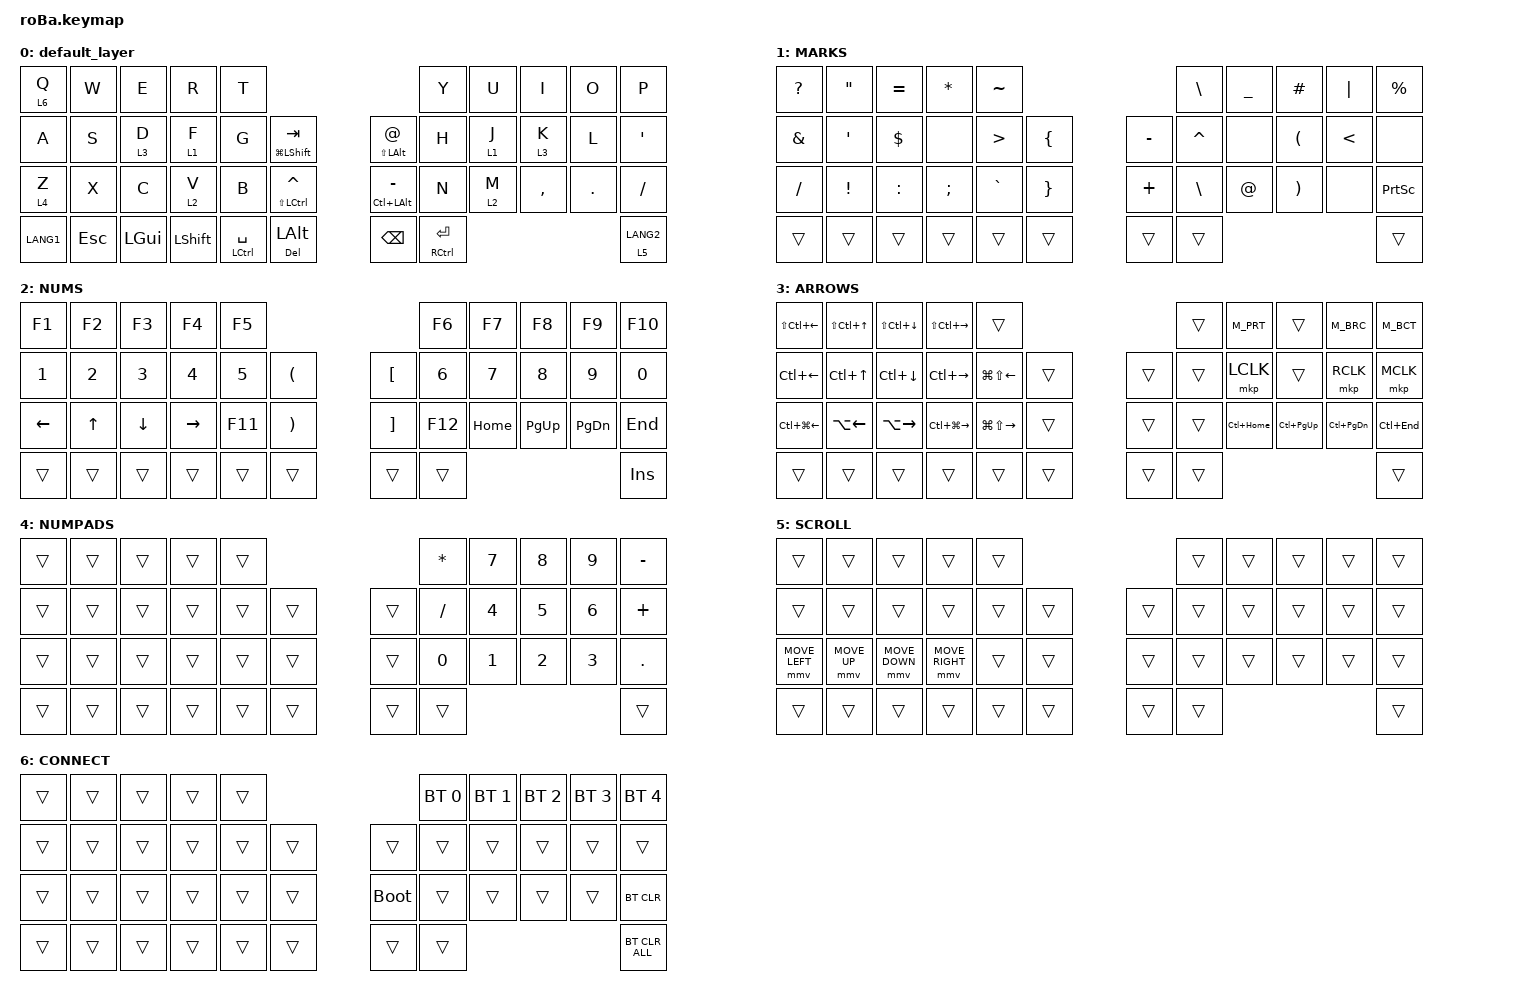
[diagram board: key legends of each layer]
#include <behaviors.dtsi>
#include <dt-bindings/zmk/bt.h>
#include <dt-bindings/zmk/keys.h>
#include <dt-bindings/zmk/pointing.h>

&mt {
    flavor = "balanced";
    quick-tap-ms = <0>;
};

&trackball {
    //automouse-layer = <4>;

    scroll-layers = <5>;

    // arrows {
    //     layers = <3>;
    //     bindings =
    //         <&kp RIGHT_ARROW>,
    //         <&kp LEFT_ARROW>,
    //         <&kp UP_ARROW>,
    //         <&kp DOWN_ARROW>;
    //     tick = <10>;
    //     wait-ms = <5>;
    //     tap-ms = <5>;
    // };
};

/ {
    combos {
        compatible = "zmk,combos";

        C_LCLK {
            bindings = <&mkp LCLK>;
            key-positions = <18 19>;
            layers = <0 1 2 3 5>;
        };

        C_RCLK {
            bindings = <&mkp RCLK>;
            key-positions = <19 20>;
            layers = <0 1 2 3 5>;
        };

        C_MCLK {
            bindings = <&mkp MCLK>;
            key-positions = <20 21>;
            layers = <0 1 2 3 5>;
        };

        C_PRT {
            bindings = <&M_PRT>;
            key-positions = <19 31>;
            layers = <0>;
        };

        C_BRC {
            bindings = <&M_BRC>;
            key-positions = <15 27>;
            layers = <0>;
        };

        C_BCT {
            bindings = <&M_BCT>;
            key-positions = <16 28>;
            layers = <0>;
        };

        C_DQT {
            bindings = <&M_DQT>;
            key-positions = <1 11>;
            layers = <0>;
        };

        C_QTE {
            bindings = <&M_QTE>;
            key-positions = <11 23>;
            layers = <0>;
        };

        C_SELECT {
            bindings = <&M_SELECT>;
            key-positions = <11 23>;
            layers = <5>;
        };

        C_DELETE {
            bindings = <&M_DELETE>;
            key-positions = <12 24>;
            layers = <5>;
        };

        C_UPDATE {
            bindings = <&M_UPDATE>;
            key-positions = <6 18>;
            layers = <5>;
        };

        C_INSERT {
            bindings = <&M_INSERT>;
            key-positions = <7 19>;
            layers = <5>;
        };

        C_UP {
            bindings = <&kp UP>;
            key-positions = <17 5>;
            layers = <0>;
        };

        C_DN {
            bindings = <&kp DOWN>;
            key-positions = <17 29>;
            layers = <0>;
        };

        C_LT {
            bindings = <&kp LEFT>;
            key-positions = <17 16>;
            layers = <0>;
        };

        C_RT {
            bindings = <&kp RIGHT>;
            key-positions = <17 18>;
            layers = <0>;
        };

        C_HM {
            bindings = <&kp HOME>;
            key-positions = <14 13>;
            layers = <0>;
        };

        C_ED {
            bindings = <&kp END>;
            key-positions = <14 15>;
            layers = <0>;
        };

        C_PU {
            bindings = <&kp PG_UP>;
            key-positions = <14 4>;
            layers = <0>;
        };

        C_PD {
            bindings = <&kp PG_DN>;
            key-positions = <14 26>;
            layers = <0>;
        };

        C_US {
            bindings = <&msc SCRL_UP>;
            key-positions = <6 18>;
            layers = <0>;
        };

        C_DS {
            bindings = <&msc SCRL_DOWN>;
            key-positions = <18 30>;
            layers = <0>;
        };
    };

    macros {
        M_PRT: M_PRT {
            compatible = "zmk,behavior-macro";
            #binding-cells = <0>;
            bindings = <&kp ASTRK &kp LEFT_PARENTHESIS &kp LEFT>;
            label = "( )";
            wait-ms = <30>;
            tap-ms = <30>;
        };

        M_BRC: M_BRC {
            compatible = "zmk,behavior-macro";
            #binding-cells = <0>;
            bindings = <&kp RIGHT_BRACE &kp PIPE &kp LEFT>;
            label = "{ }";
            wait-ms = <30>;
            tap-ms = <30>;
        };

        M_BCT: M_BCT {
            compatible = "zmk,behavior-macro";
            #binding-cells = <0>;
            bindings = <&kp RIGHT_BRACKET &kp BSLH &kp LEFT>;
            label = "[ ]";
            wait-ms = <30>;
            tap-ms = <30>;
        };

        M_DQT: M_DQT {
            compatible = "zmk,behavior-macro";
            #binding-cells = <0>;
            bindings = <&kp AT &kp AT &kp LEFT>;
            label = "M_DQT";
            wait-ms = <30>;
            tap-ms = <30>;
        };

        M_QTE: M_QTE {
            compatible = "zmk,behavior-macro";
            #binding-cells = <0>;
            bindings = <&kp AMPS &kp AMPS &kp LEFT>;
            label = "M_QTE";
            wait-ms = <30>;
            tap-ms = <30>;
        };

        M_SELECT: M_SELECT {
            compatible = "zmk,behavior-macro";
            #binding-cells = <0>;
            bindings = <&kp S &kp E &kp L &kp E &kp C &kp T &kp SPACE &kp DOUBLE_QUOTES &kp SPACE &kp F &kp R &kp O &kp M &kp SPACE &kp T &kp SPACE &kp W &kp H &kp E &kp R &kp E>;
            label = "M_SELECT";
            wait-ms = <30>;
            tap-ms = <30>;
        };

        M_DELETE: M_DELETE {
            compatible = "zmk,behavior-macro";
            #binding-cells = <0>;
            bindings = <&kp D &kp E &kp L &kp E &kp T &kp E &kp SPACE &kp F &kp R &kp O &kp M &kp SPACE &kp T &kp SPACE &kp W &kp H &kp E &kp R &kp E>;
            label = "M_DELETE";
            wait-ms = <30>;
            tap-ms = <30>;
        };

        M_UPDATE: M_UPDATE {
            compatible = "zmk,behavior-macro";
            #binding-cells = <0>;
            bindings = <&kp U &kp P &kp D &kp A &kp T &kp E &kp SPACE &kp T &kp SPACE &kp S &kp E &kp T &kp SPACE &kp SPACE &kp UNDER &kp SPACE &kp SPACE &kp W &kp H &kp E &kp R &kp E>;
            label = "M_UPDATE";
            wait-ms = <30>;
            tap-ms = <30>;
        };

        M_INSERT: M_INSERT {
            compatible = "zmk,behavior-macro";
            #binding-cells = <0>;
            bindings = <&kp I &kp N &kp S &kp E &kp R &kp T &kp SPACE &kp I &kp N &kp T &kp O &kp SPACE &kp T &kp SPACE &kp ASTRK &kp C &kp LPAR &kp SPACE &kp V &kp A &kp L &kp U &kp E &kp S &kp SPACE &kp ASTRK &kp V &kp LEFT_PARENTHESIS>;
            label = "M_INSERT";
            wait-ms = <30>;
            tap-ms = <30>;
        };
    };

    keymap {
        compatible = "zmk,keymap";

        default_layer {
            bindings = <
&lt 6 Q    &kp W       &kp E         &kp R           &kp T                                                                  &kp Y            &kp U    &kp I      &kp O    &kp P
&kp A      &kp S       &lt 3 D       &lt 1 F         &kp G            &mt LG(LEFT_SHIFT) TAB      &mt LS(LEFT_ALT) AT_SIGN  &kp H            &lt 1 J  &lt 3 K    &kp L    &kp SQT
&lt 4 Z    &kp X       &kp C         &lt 2 V         &kp B            &mt LS(LCTRL) CARET         &mt LC(LEFT_ALT) MINUS    &kp N            &lt 2 M  &kp COMMA  &kp DOT  &kp SLASH
&kp LANG1  &kp ESCAPE  &kp LEFT_GUI  &kp LEFT_SHIFT  &mt LCTRL SPACE  &mt DEL LEFT_ALT            &kp BACKSPACE             &mt RCTRL ENTER                               &lt 5 LANG2
            >;
        };

        MARKS {
            bindings = <
&kp QMARK  &kp DQT   &kp EQUAL  &kp ASTRK  &kp TILDE                           &kp BSLH   &kp UNDER  &kp HASH  &kp PIPE  &kp PRCNT
&kp AMPS   &kp SQT   &kp DLLR   &none      &kp GT     &kp LBRC      &kp MINUS  &kp CARET  &none      &kp LPAR  &kp LT    &none
&kp FSLH   &kp EXCL  &kp COLON  &kp SEMI   &kp GRAVE  &kp RBRC      &kp PLUS   &kp BSLH   &kp AT     &kp RPAR  &none     &kp PSCRN
&trans     &trans    &trans     &trans     &trans     &trans        &trans     &trans                                    &trans
            >;
        };

        NUMS {
            bindings = <
&kp F1    &kp F2  &kp F3    &kp F4     &kp F5                           &kp F6   &kp F7    &kp F8     &kp F9     &kp F10
&kp N1    &kp N2  &kp N3    &kp N4     &kp N5   &kp LPAR      &kp LBKT  &kp N6   &kp N7    &kp N8     &kp N9     &kp N0
&kp LEFT  &kp UP  &kp DOWN  &kp RIGHT  &kp F11  &kp RPAR      &kp RBKT  &kp F12  &kp HOME  &kp PG_UP  &kp PG_DN  &kp END
&trans    &trans  &trans    &trans     &trans   &trans        &trans    &trans                                   &kp INS
            >;
        };

        ARROWS {
            bindings = <
&kp LS(LC(LEFT))  &kp LS(LC(UP))  &kp LS(LC(DOWN))  &kp LS(LC(RIGHT))  &trans                                 &trans  &M_PRT        &trans         &M_BRC         &M_BCT
&kp LC(LEFT)      &kp LC(UP)      &kp LC(DOWN)      &kp LC(RIGHT)      &kp LG(LS(LEFT))   &trans      &trans  &trans  &mkp LCLK     &trans         &mkp RCLK      &mkp MCLK
&kp LC(LG(LEFT))  &kp LA(LEFT)    &kp LA(RIGHT)     &kp LC(LG(RIGHT))  &kp LG(LS(RIGHT))  &trans      &trans  &trans  &kp LC(HOME)  &kp LC(PG_UP)  &kp LC(PG_DN)  &kp LC(END)
&trans            &trans          &trans            &trans             &trans             &trans      &trans  &trans                                              &trans
            >;
        };

        NUMPADS {
            bindings = <
&trans  &trans  &trans  &trans  &trans                      &kp ASTERISK  &kp N7  &kp N8  &kp N9  &kp MINUS
&trans  &trans  &trans  &trans  &trans  &trans      &trans  &kp SLASH     &kp N4  &kp N5  &kp N6  &kp PLUS
&trans  &trans  &trans  &trans  &trans  &trans      &trans  &kp N0        &kp N1  &kp N2  &kp N3  &kp PERIOD
&trans  &trans  &trans  &trans  &trans  &trans      &trans  &trans                                &trans
            >;
        };

        SCROLL {
            bindings = <
&trans          &trans        &trans          &trans           &trans                      &trans  &trans  &trans  &trans  &trans
&trans          &trans        &trans          &trans           &trans  &trans      &trans  &trans  &trans  &trans  &trans  &trans
&mmv MOVE_LEFT  &mmv MOVE_UP  &mmv MOVE_DOWN  &mmv MOVE_RIGHT  &trans  &trans      &trans  &trans  &trans  &trans  &trans  &trans
&trans          &trans        &trans          &trans           &trans  &trans      &trans  &trans                          &trans
            >;
        };

        CONNECT {
            bindings = <
&trans  &trans  &trans  &trans  &trans                           &bt BT_SEL 0  &bt BT_SEL 1  &bt BT_SEL 2  &bt BT_SEL 3  &bt BT_SEL 4
&trans  &trans  &trans  &trans  &trans  &trans      &trans       &trans        &trans        &trans        &trans        &trans
&trans  &trans  &trans  &trans  &trans  &trans      &bootloader  &trans        &trans        &trans        &trans        &bt BT_CLR
&trans  &trans  &trans  &trans  &trans  &trans      &trans       &trans                                                  &bt BT_CLR_ALL
            >;
        };
    };
};
